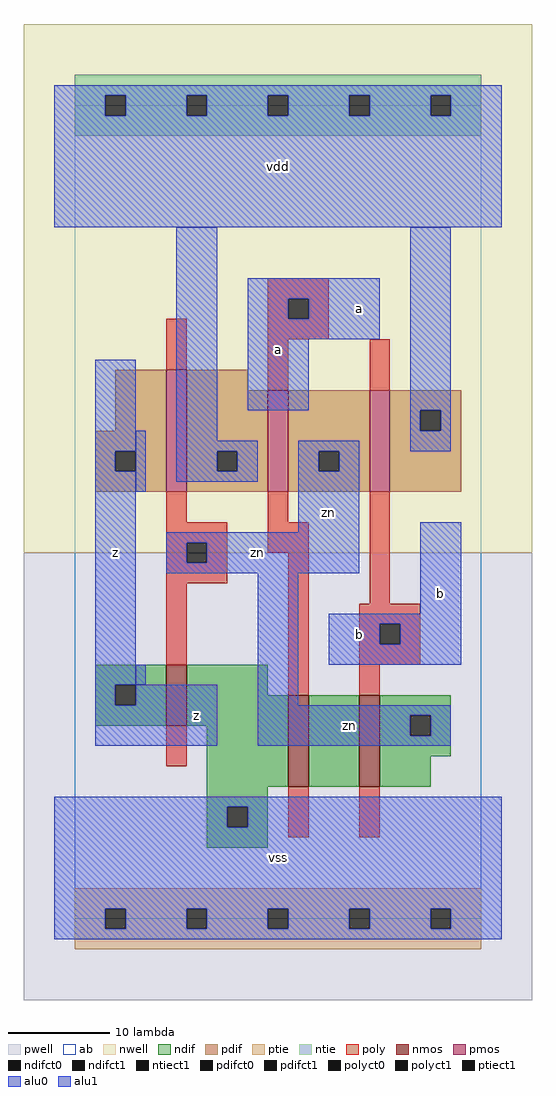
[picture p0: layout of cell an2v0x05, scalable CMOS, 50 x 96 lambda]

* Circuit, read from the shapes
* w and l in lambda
.subckt an2v0x05 a b vdd vss z zn
M1 vss zn z vss nfet w=6 l=2
M2 n1 a vss vss nfet w=9 l=2
M3 zn b n1 vss nfet w=9 l=2
M4 vdd zn z vdd pfet w=12 l=2
M5 zn a vdd vdd pfet w=10 l=2
M6 vdd b zn vdd pfet w=10 l=2
.ends

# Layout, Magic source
magic
tech scmos
<< ab >>
rect 0 0 40 80
<< nwell >>
rect -5 36 45 88
<< pwell >>
rect -5 -8 45 36
<< poly >>
rect 19 61 25 63
rect 19 59 21 61
rect 23 59 25 61
rect 9 54 11 59
rect 19 57 25 59
rect 19 52 21 57
rect 29 52 31 57
rect 9 39 11 42
rect 19 39 21 42
rect 9 37 15 39
rect 9 35 11 37
rect 13 35 15 37
rect 19 36 23 39
rect 9 33 15 35
rect 9 25 11 33
rect 21 22 23 36
rect 29 31 31 42
rect 28 29 34 31
rect 28 27 30 29
rect 32 27 34 29
rect 28 25 34 27
rect 28 22 30 25
rect 9 15 11 19
rect 21 8 23 13
rect 28 8 30 13
<< ndif >>
rect 2 23 9 25
rect 2 21 4 23
rect 6 21 9 23
rect 2 19 9 21
rect 11 22 19 25
rect 11 19 21 22
rect 13 13 21 19
rect 23 13 28 22
rect 30 20 37 22
rect 30 18 33 20
rect 35 18 37 20
rect 30 16 37 18
rect 30 13 35 16
rect 13 11 19 13
rect 13 9 15 11
rect 17 9 19 11
rect 13 7 19 9
<< pdif >>
rect 4 48 9 54
rect 2 46 9 48
rect 2 44 4 46
rect 6 44 9 46
rect 2 42 9 44
rect 11 52 17 54
rect 11 46 19 52
rect 11 44 14 46
rect 16 44 19 46
rect 11 42 19 44
rect 21 46 29 52
rect 21 44 24 46
rect 26 44 29 46
rect 21 42 29 44
rect 31 50 38 52
rect 31 48 34 50
rect 36 48 38 50
rect 31 42 38 48
<< alu1 >>
rect -2 81 42 82
rect -2 79 3 81
rect 5 79 11 81
rect 13 79 19 81
rect 21 79 27 81
rect 29 79 35 81
rect 37 79 42 81
rect -2 68 42 79
rect 2 46 6 55
rect 2 44 4 46
rect 2 23 6 44
rect 17 61 30 63
rect 17 59 21 61
rect 23 59 30 61
rect 17 57 30 59
rect 17 50 23 57
rect 2 21 4 23
rect 6 21 14 23
rect 2 17 14 21
rect 34 30 38 39
rect 25 29 38 30
rect 25 27 30 29
rect 32 27 38 29
rect 25 25 38 27
rect -2 11 42 12
rect -2 9 15 11
rect 17 9 42 11
rect -2 1 42 9
rect -2 -1 3 1
rect 5 -1 11 1
rect 13 -1 19 1
rect 21 -1 27 1
rect 29 -1 35 1
rect 37 -1 42 1
rect -2 -2 42 -1
<< ptie >>
rect 0 1 40 3
rect 0 -1 3 1
rect 5 -1 11 1
rect 13 -1 19 1
rect 21 -1 27 1
rect 29 -1 35 1
rect 37 -1 40 1
rect 0 -3 40 -1
<< ntie >>
rect 0 81 40 83
rect 0 79 3 81
rect 5 79 11 81
rect 13 79 19 81
rect 21 79 27 81
rect 29 79 35 81
rect 37 79 40 81
rect 0 77 40 79
<< nmos >>
rect 9 19 11 25
rect 21 13 23 22
rect 28 13 30 22
<< pmos >>
rect 9 42 11 54
rect 19 42 21 52
rect 29 42 31 52
<< polyct0 >>
rect 11 35 13 37
<< polyct1 >>
rect 21 59 23 61
rect 30 27 32 29
<< ndifct0 >>
rect 33 18 35 20
<< ndifct1 >>
rect 4 21 6 23
rect 15 9 17 11
<< ntiect1 >>
rect 3 79 5 81
rect 11 79 13 81
rect 19 79 21 81
rect 27 79 29 81
rect 35 79 37 81
<< ptiect1 >>
rect 3 -1 5 1
rect 11 -1 13 1
rect 19 -1 21 1
rect 27 -1 29 1
rect 35 -1 37 1
<< pdifct0 >>
rect 14 44 16 46
rect 24 44 26 46
rect 34 48 36 50
<< pdifct1 >>
rect 4 44 6 46
<< alu0 >>
rect 6 42 7 48
rect 10 47 14 68
rect 33 50 37 68
rect 33 48 34 50
rect 36 48 37 50
rect 10 46 18 47
rect 10 44 14 46
rect 16 44 18 46
rect 10 43 18 44
rect 22 46 28 47
rect 33 46 37 48
rect 22 44 24 46
rect 26 44 28 46
rect 22 38 28 44
rect 9 37 28 38
rect 9 35 11 37
rect 13 35 28 37
rect 9 34 28 35
rect 6 23 7 25
rect 18 21 22 34
rect 18 20 37 21
rect 18 18 33 20
rect 35 18 37 20
rect 18 17 37 18
<< labels >>
rlabel alu0 18 36 18 36 6 zn
rlabel alu0 25 40 25 40 6 zn
rlabel alu0 27 19 27 19 6 zn
rlabel alu1 4 36 4 36 6 z
rlabel alu1 12 20 12 20 6 z
rlabel alu1 20 6 20 6 6 vss
rlabel alu1 28 28 28 28 6 b
rlabel alu1 20 56 20 56 6 a
rlabel alu1 28 60 28 60 6 a
rlabel alu1 20 74 20 74 6 vdd
rlabel alu1 36 32 36 32 6 b
<< end >>
